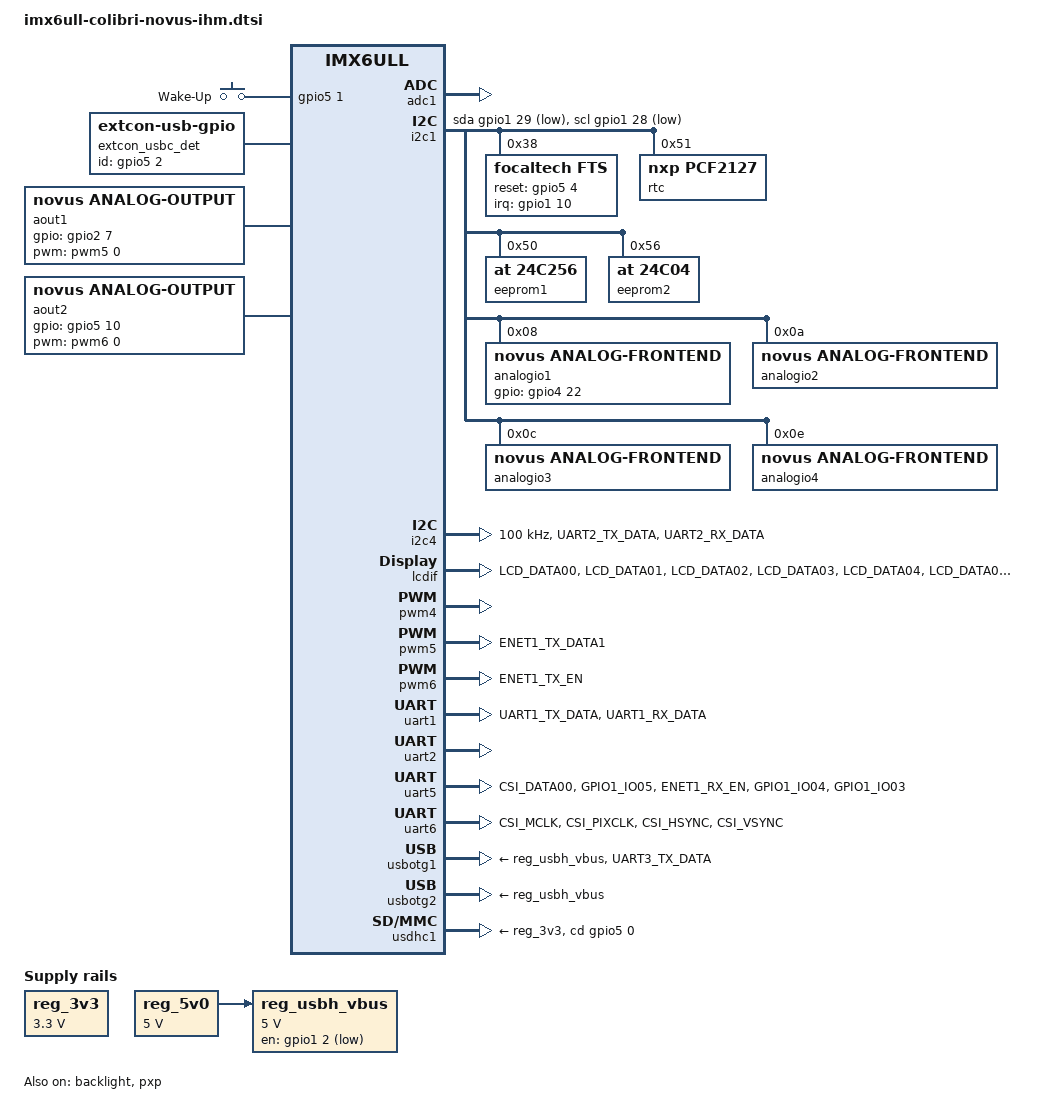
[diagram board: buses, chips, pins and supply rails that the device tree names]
/*
 * Copyright 2019 PD3 Tecnologia
 *
 * This program is free software; you can redistribute it and/or modify
 * it under the terms of the GNU General Public License as published by
 * the Free Software Foundation; either version 2 of the License, or
 * (at your option) any later version.
 */

#include <dt-bindings/input/input.h>

/ {
	chosen {
		bootargs = "console=ttymxc0,115200";
	};

	gpio-keys {
		compatible = "gpio-keys";
		pinctrl-names = "default";
		pinctrl-0 = <&pinctrl_snvs_gpiokeys>;

		power {
			label = "Wake-Up";
			gpios = <&gpio5 1 GPIO_ACTIVE_HIGH>;
			linux,code = <KEY_WAKEUP>;
			debounce-interval = <10>;
			gpio-key,wakeup;
		};
	};

	extcon_usbc_det: usbc_det {
		compatible = "linux,extcon-usb-gpio";
		debounce = <25>;
		id-gpio = <&gpio5 2 GPIO_ACTIVE_HIGH>;
		pinctrl-names = "default";
		pinctrl-0 = <&pinctrl_snvs_usbc_det>;
	};

	reg_3v3: regulator-3v3 {
		compatible = "regulator-fixed";
		regulator-name = "3.3V";
		regulator-min-microvolt = <3300000>;
		regulator-max-microvolt = <3300000>;
		regulator-always-on;
	};

	reg_5v0: regulator-5v0 {
		compatible = "regulator-fixed";
		regulator-name = "5V";
		regulator-min-microvolt = <5000000>;
		regulator-max-microvolt = <5000000>;
	};

	reg_usbh_vbus: regulator-usbh-vbus {
		compatible = "regulator-fixed";
		pinctrl-names = "default";
		pinctrl-0 = <&pinctrl_usbh_reg>;
		regulator-name = "VCC_USB[1-4]";
		regulator-min-microvolt = <5000000>;
		regulator-max-microvolt = <5000000>;
		gpio = <&gpio1 2 GPIO_ACTIVE_LOW>;
		vin-supply = <&reg_5v0>;
	};

  aout1: analog_out_pwm5 {
    compatible = "novus,analog-output";
    pwms = <&pwm5 0 1000000 0>;
    gpios = <&gpio2 7 0>;
    status = "okay";
  };

  aout2: analog_out_pwm6 {
    compatible = "novus,analog-output";
    pwms = <&pwm6 0 1000000 0>;
    gpios = <&gpio5 10 0>;
    status = "okay";
  };
};

&backlight {
	//brightness-levels = <0 4 8 16 32 64 128 255>;
	brightness-levels = <0 4 8 16 32 48 64 80 96 112 128 144 160 176 192 208 224 240 255>;
	default-brightness-level = <12>;
	pwms = <&pwm4 0 5000000 1>;
	status = "okay";
};

&adc1 {
	status = "okay";
};

&pxp {
	status = "okay";
};

/* Configure LCD to use 24-bit mode */
&iomuxc {
	pinctrl-names = "default";
	//pinctrl-0 = <&pinctrl_hog_1 &pinctrl_hog_2 &pinctrl_hog_4 &pinctrl_hog_5 &pinctrl_hog_7>;
	pinctrl-0 = <&pinctrl_gpios &pinctrl_digital_ios &pinctrl_vsel &pinctrl_psoc_res &pinctrl_hog_1_ihm>; /* Touch Screen interrupt pin - SODIMM 106 */

	imx6ull-colibri-novus-ihm {
		pinctrl_lcdif_24bitdat: lcdif24bitdatgrp {
			fsl,pins = <
				MX6UL_PAD_LCD_DATA00__LCDIF_DATA00  0x00079
				MX6UL_PAD_LCD_DATA01__LCDIF_DATA01  0x00079
				MX6UL_PAD_LCD_DATA02__LCDIF_DATA02  0x00079
				MX6UL_PAD_LCD_DATA03__LCDIF_DATA03  0x00079
				MX6UL_PAD_LCD_DATA04__LCDIF_DATA04  0x00079
				MX6UL_PAD_LCD_DATA05__LCDIF_DATA05  0x00079
				MX6UL_PAD_LCD_DATA06__LCDIF_DATA06  0x00079
				MX6UL_PAD_LCD_DATA07__LCDIF_DATA07  0x00079
				MX6UL_PAD_LCD_DATA08__LCDIF_DATA08  0x00079
				MX6UL_PAD_LCD_DATA09__LCDIF_DATA09  0x00079
				MX6UL_PAD_LCD_DATA10__LCDIF_DATA10  0x00079
				MX6UL_PAD_LCD_DATA11__LCDIF_DATA11  0x00079
				MX6UL_PAD_LCD_DATA12__LCDIF_DATA12  0x00079
				MX6UL_PAD_LCD_DATA13__LCDIF_DATA13  0x00079
				MX6UL_PAD_LCD_DATA14__LCDIF_DATA14  0x00079
				MX6UL_PAD_LCD_DATA15__LCDIF_DATA15  0x00079
				MX6UL_PAD_LCD_DATA16__LCDIF_DATA16  0x00079
				MX6UL_PAD_LCD_DATA17__LCDIF_DATA17  0x00079
				MX6UL_PAD_LCD_DATA18__LCDIF_DATA18  0x00079
				MX6UL_PAD_LCD_DATA19__LCDIF_DATA19  0x00079
				MX6UL_PAD_LCD_DATA20__LCDIF_DATA20  0x00079
				MX6UL_PAD_LCD_DATA21__LCDIF_DATA21  0x00079
				MX6UL_PAD_LCD_DATA22__LCDIF_DATA22  0x00079
				MX6UL_PAD_LCD_DATA23__LCDIF_DATA23  0x00079
			>;
		};
		pinctrl_uart5_ihm: uart5group_ihm {
			fsl,pins = <
				MX6UL_PAD_CSI_DATA00__UART5_DTE_RX  	0x1b0b1
				MX6UL_PAD_GPIO1_IO05__UART5_DTE_TX  	0x1b0b1
				MX6UL_PAD_ENET1_RX_EN__UART5_DTE_CTS	0x1b0b1
				MX6UL_PAD_GPIO1_IO04__GPIO1_IO04		0xb0	/* SODIMM 19 */
				MX6UL_PAD_GPIO1_IO03__GPIO1_IO03		0x08	/* SODIMM  89, gpio3 */ /* EN 120R TERM. RES. GPIO LOW SPEED 260R */
			>;
		};
		pinctrl_uart6_ihm: uart6group_ihm {
			fsl,pins = <
				MX6UL_PAD_CSI_MCLK__UART6_DTE_RX  	    0x1b0b1
				MX6UL_PAD_CSI_PIXCLK__UART6_DTE_TX  	0x1b0b1
				MX6UL_PAD_CSI_HSYNC__UART6_DTE_RTS		0x1b0b1
				MX6UL_PAD_CSI_VSYNC__UART6_DTE_CTS	    0x1b0b1				
			>;
		};

		pinctrl_usb_otg: usbotggroup {
			fsl,pins = <
				MX6UL_PAD_UART3_TX_DATA__ANATOP_OTG1_ID	0x14 /* SODIMM 135 */
			>;
		};

		pinctrl_digital_ios: diogroup {
			fsl,pins = <
				MX6ULL_PAD_SNVS_TAMPER8__GPIO5_IO08		0x14 /* SODIMM 138 - DOUT_0 */
				MX6UL_PAD_UART3_RTS_B__GPIO1_IO27		0x14 /* SODIMM 186 - DOUT_1 */
				MX6UL_PAD_ENET1_TX_DATA0__GPIO2_IO03	0x14 /* SODIMM 188 - DOUT_2 */
				MX6UL_PAD_GPIO1_IO09__GPIO1_IO09		0x14 /* SODIMM 2 - DOUT_3 */

				MX6UL_PAD_UART1_RTS_B__GPIO1_IO19		0x14 /* SODIMM 27 - DIN_0 */
				MX6UL_PAD_NAND_DQS__GPIO4_IO16			0x14 /* SODIMM 28 - DIN_1 */
				MX6UL_PAD_JTAG_TDO__GPIO1_IO12			0x14 /* SODIMM 23 - DIN_2 */
				MX6UL_PAD_NAND_CE1_B__GPIO4_IO14		0x14 /* SODIMM 133 - DIN_3 */
			>;
		};

		pinctrl_gpios: gpiogroup {
			fsl,pins = <
				MX6UL_PAD_UART1_CTS_B__GPIO1_IO18		0x08 /* SODIMM 25, gpio18 */ /* GPIO LOW SPEED 260R - MICROMOD PWR */
			>;
		};

		pinctrl_console: console-grp {
			fsl,pins = <
				MX6UL_PAD_UART1_TX_DATA__UART1_DTE_RX	0x1b0b1
				MX6UL_PAD_UART1_RX_DATA__UART1_DTE_TX	0x1b0b1
			>;
		};

		pinctrl_vsel: vselgrp {
			fsl,pins = <
				MX6UL_PAD_ENET1_RX_ER__GPIO2_IO07	0x14 /* SODIMM 104 - VSEL 1 */
				MX6ULL_PAD_BOOT_MODE0__GPIO5_IO10	0x74 /* SODIMM 105 - VSEL 2 */
			>;
		};

		pinctrl_aout_pwm1: pwm5iogrp {
			fsl,pins = <
				MX6UL_PAD_ENET1_TX_DATA1__PWM5_OUT	0x00079 /* SODIMM 73 - PWM 1 */
			>;
		};
 
		pinctrl_aout_pwm2: pwm6iogrp {
			fsl,pins = <
				MX6UL_PAD_ENET1_TX_EN__PWM6_OUT	0x00079 /* SODIMM 30 - PWM 2 */
			>;
		};

		pinctrl_psoc_res: analogiogrp {
			fsl,pins = <
				MX6UL_PAD_CSI_DATA01__GPIO4_IO22	0x14 /* SODIMM 103 - PSOC_RES# */
			>;
		};

		pinctrl_i2c4: i2c4grp {
			fsl,pins = <
				MX6UL_PAD_UART2_TX_DATA__I2C4_SCL 0x4001f8b0
				MX6UL_PAD_UART2_RX_DATA__I2C4_SDA 0x4001f8b0
			>;
		};

		/* pinctrl_usdhc1: usdhc1grp { /* CONTROLE DE IMPEDÂNCIA */
		/* Controle de impedância de acordo com velocidade do clock */
		/* ~/oe-core/build/tmp-glibc/work-shared/colibri-imx6ull/kernel-source/arch/arm/boot/dts/imx6ull-colibri.dtsi */

		pinctrl_hog_1_ihm: hoggrp-1_ihm { /* Unpluggeds */
			fsl,pins = <								/* (GPIO = ((PORT - 1) * 32) + PIN) */
				MX6UL_PAD_JTAG_TDI__GPIO1_IO13			0x08 /* SODIMM  31 , gpio13		*/ /* GPIO LOW SPEED 260R */
				MX6UL_PAD_UART2_CTS_B__GPIO1_IO22	  	0x08 /* SODIMM  32 , gpio22		*/ /* GPIO LOW SPEED 260R */
				MX6UL_PAD_UART2_RTS_B__GPIO1_IO23		0x08 /* SODIMM  34 , gpio23		*/ /* GPIO LOW SPEED 260R */
				/*MX6UL_PAD_GPIO1_IO06__GPIO1_IO06		0x08 /* SODIMM 180 , gpio6		*/ /* GPIO LOW SPEED 260R */ /* RESERVED */
				/*MX6UL_PAD_GPIO1_IO07__GPIO1_IO07		0x08 /* SODIMM 184 , gpio7		*/ /* GPIO LOW SPEED 260R */ /* RESERVED */
				/*MX6UL_PAD_GPIO1_IO03__GPIO1_IO03		0x08 /* SODIMM  89 , gpio3		*/ /* UART5 GROUP RS485 TERMINATOR RESISTOR*/
				MX6UL_PAD_SNVS_TAMPER6__GPIO5_IO06		0x08 /* SODIMM  93 , gpio134	*/ /* GPIO LOW SPEED 260R */
				MX6UL_PAD_SNVS_TAMPER3__GPIO5_IO03		0x08 /* SODIMM  95 , gpio131	*/ /* GPIO LOW SPEED 260R */
				MX6UL_PAD_JTAG_TCK__GPIO1_IO14			0x08 /* SODIMM  99 , gpio14		*/ /* GPIO LOW SPEED 260R */
				MX6UL_PAD_GPIO1_IO08__GPIO1_IO08		0x08 /* SODIMM   4 , gpio8		*/ /* GPIO LOW SPEED 260R */
				MX6UL_PAD_GPIO1_IO00__GPIO1_IO00		0x08 /* SODIMM   8 , gpio0		*/ /* GPIO LOW SPEED 260R */
				/*MX6UL_PAD_GPIO1_IO04__GPIO1_IO04		0xb0 /* SODIMM  19 , gpio4		*/ /* UART5 GROUP */
				MX6UL_PAD_CSI_DATA05__GPIO4_IO26		0x08 /* SODIMM  98 , gpio122	*/ /* GPIO LOW SPEED 260R */
				MX6UL_PAD_SNVS_TAMPER1__GPIO5_IO01		0x08 /* SODIMM  45 , gpio129	*/ /* GPIO LOW SPEED 260R */
				MX6UL_PAD_UART3_CTS_B__GPIO1_IO26		0x08 /* SODIMM 100 , gpio26		*/ /* GPIO LOW SPEED 260R */
				MX6UL_PAD_JTAG_TRST_B__GPIO1_IO15		0x08 /* SODIMM 102 , gpio15		*/ /* GPIO LOW SPEED 260R */
				/*MX6UL_PAD_CSI_HSYNC__UART6_DTE_RTS 0x1b0b1 /* SODIMM  94 , gpio		*/ /* UART6 GROUP */
				MX6UL_PAD_CSI_DATA02__GPIO4_IO23		0x08 /* SODIMM  79 , gpio119	*/ /* GPIO LOW SPEED 260R */
				MX6UL_PAD_CSI_DATA03__GPIO4_IO24		0x08 /* SODIMM  97 , gpio120	*/ /* GPIO LOW SPEED 260R */
				MX6UL_PAD_CSI_DATA06__GPIO4_IO27		0x08 /* SODIMM  85 , gpio123	*/ /* GPIO LOW SPEED 260R */
				MX6UL_PAD_CSI_DATA07__GPIO4_IO28		0x08 /* SODIMM  65 , gpio124	*/ /* GPIO LOW SPEED 260R */
				MX6UL_PAD_CSI_DATA04__GPIO4_IO25		0x08 /* SODIMM  69 , gpio121	*/ /* GPIO LOW SPEED 260R */
				MX6UL_PAD_UART3_RX_DATA__GPIO1_IO25		0x08 /* SODIMM  77 , gpio25		*/ /* GPIO LOW SPEED 260R */
			>;
		};
	};
};

&iomuxc_snvs {
	pinctrl-names = "default";
	pinctrl-0 = <&pinctrl_snvs_gpio1 &pinctrl_snvs_gpio3>;
};

/* No SPI since LCD uses 24-bit color mode */
&ecspi1 {
	status = "disabled";
};

&i2c1 {
	pinctrl-names = "default", "gpio";
	pinctrl-0 = <&pinctrl_i2c1>;
	pinctrl-1 = <&pinctrl_i2c1_gpio>;
	sda-gpios = <&gpio1 29 GPIO_ACTIVE_LOW>;
	scl-gpios = <&gpio1 28 GPIO_ACTIVE_LOW>;
	status = "okay";

	/* Focaltech touchscreen controller */
	focaltech: focaltech@38 {
		compatible = "focaltech,fts";
		reg = <0x38>;
		interrupt-parent = <&gpio1>;
		interrupts = <10 IRQ_TYPE_EDGE_FALLING>; /* SODIMM 106 */
		focaltech,reset-gpio = <&gpio5 4 GPIO_ACTIVE_HIGH>; /* SODIMM 107 */
		focaltech,irq-gpio = <&gpio1 10 IRQ_TYPE_EDGE_FALLING>;
        focaltech,panel-type = <FT5416>;
        focaltech,max-touch-number = <2>;
		focaltech,display-coords =  <0 0 1024 600>;
		status = "okay";
	};

	/* PCF2127 real time clock on carrier board */
	rtc: pcf2127@51 {
		compatible = "nxp,pcf2127";
		reg = <0x51>;
	};

	eeprom1: eeprom_24lc256t@50 {
		compatible = "at,24c256";
		pagesize = <64>;
		reg = <0x50>;
	};

	eeprom2: eeprom_fm24lc04@56 {
		compatible = "at,24c04";
		pagesize = <256>;
		reg = <0x56>;
	};
	/* psoc	 antes estavam no &i2c4 */

	analogio1: psoc@8 {
		compatible = "novus,analog-frontend";
		reg = <0x8>;
		gpios = <&gpio4 22 0>; /* Reset GPIO */
	};

	analogio2: psoc@a {
		compatible = "novus,analog-frontend";
		reg = <0xa>;
	};

	analogio3: psoc@c {
		compatible = "novus,analog-frontend";
		reg = <0xc>;
	};

	analogio4: psoc@e {
		compatible = "novus,analog-frontend";
		reg = <0xe>;
	};
};

&i2c2 {
	status = "disabled";
};

&i2c3 {
	status = "disabled";
};

&i2c4 {
	clock-frequency = <100000>;
	pinctrl-names = "default";
	pinctrl-0 = <&pinctrl_i2c4>;
	status = "okay";

};



&lcdif {
	display = <&display0>;
	status = "okay";

	/* Override pinctrl from imx6ull-colibri.dtsi to support 24-bit LCD */
	pinctrl-names = "default";
	pinctrl-0 = <&pinctrl_lcdif_24bitdat
		     &pinctrl_lcdif_ctrl>;

	display0: lcd-display {
		bits-per-pixel = <32>;
		bus-width = <24>;

		display-timings {
			native-mode = <&timing_eastrising>;

			/* EastRising ER-TFT070-6 */
			timing_eastrising: 1024x600 {
				clock-frequency = <51200000>;
				hactive = <1024>;
				vactive = <600>;
				hback-porch = <160>;
				hfront-porch = <160>;
				vback-porch = <23>;
				vfront-porch = <12>;
				hsync-len = <1>;
				vsync-len = <1>;
				de-active = <1>;
				hsync-active = <0>;
				vsync-active = <0>;
				pixelclk-active = <0>;
			};
		};
	};
};

/* PWM <A> - BACKLIGHT */
&pwm4 {
	status = "okay";
};

/* PWM <B> */
&pwm5 {
	pinctrl-names = "default";
	pinctrl-0 = <&pinctrl_aout_pwm1>;
	status = "okay";
};

/* PWM <C> */
&pwm6 {
	pinctrl-names = "default";
	pinctrl-0 = <&pinctrl_aout_pwm2>;
	status = "okay";
};

/* PWM <D> */
&pwm7 {
	status = "disabled";
};

&uart1 {
	/* Override UART1 settings: don't use pintctrl_uart1_ctrl1 so that LCD can work in 24-bit mode */
	pinctrl-names = "default";
	pinctrl-0 = <&pinctrl_console>;
	status = "okay";
};

&uart2 {
	status = "okay";
};

&uart5 {
	pinctrl-names = "default";
	pinctrl-0 = <&pinctrl_uart5_ihm>;
	fsl,uart-has-rtscts;
	fsl,dte-mode;
	status = "okay";
	linux,rs485-enabled-at-boot-time;
    rs485-rts-active-low;
    rs485-rx-during-tx;
};

&uart6 {
	pinctrl-names = "default";
	pinctrl-0 = <&pinctrl_uart6_ihm>;
	fsl,uart-has-rtscts;
	fsl,dte-mode;
	status = "okay";
};

&usbotg1 {
	pinctrl-names = "default";
	pinctrl-0 = <&pinctrl_usb_otg>;
	vbus-supply = <&reg_usbh_vbus>;
	status = "okay";
};

&usbotg2 {
	vbus-supply = <&reg_usbh_vbus>;
	status = "okay";
};

/* The define SD_1_8 allows to use the SD interface at a higher speed mode
 * if the card supports it. For this the signaling voltage is switched from
 * 3.3V to 1.8V under the usdhc1's drivers control.
 */
/* #define SD_1_8 */
&usdhc1 {
#ifdef SD_1_8
	pinctrl-names = "default", "state_100mhz", "state_200mhz";
	pinctrl-0 = <&pinctrl_usdhc1 &pinctrl_snvs_usdhc1_cd>;
	pinctrl-1 = <&pinctrl_usdhc1_100mhz &pinctrl_snvs_usdhc1_cd>;
	pinctrl-2 = <&pinctrl_usdhc1_200mhz &pinctrl_snvs_usdhc1_cd>;
	vqmmc-supply = <&reg_sd1_vmmc>;
#else
	pinctrl-names = "default";
	pinctrl-0 = <&pinctrl_usdhc1 &pinctrl_snvs_usdhc1_cd>;
	no-1-8-v;
#endif
	cd-gpios = <&gpio5 0 GPIO_ACTIVE_HIGH>;
	disable-wp;
	enable-sdio-wakeup;
	keep-power-in-suspend;
	status = "okay";
	vmmc-supply = <&reg_3v3>;
};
